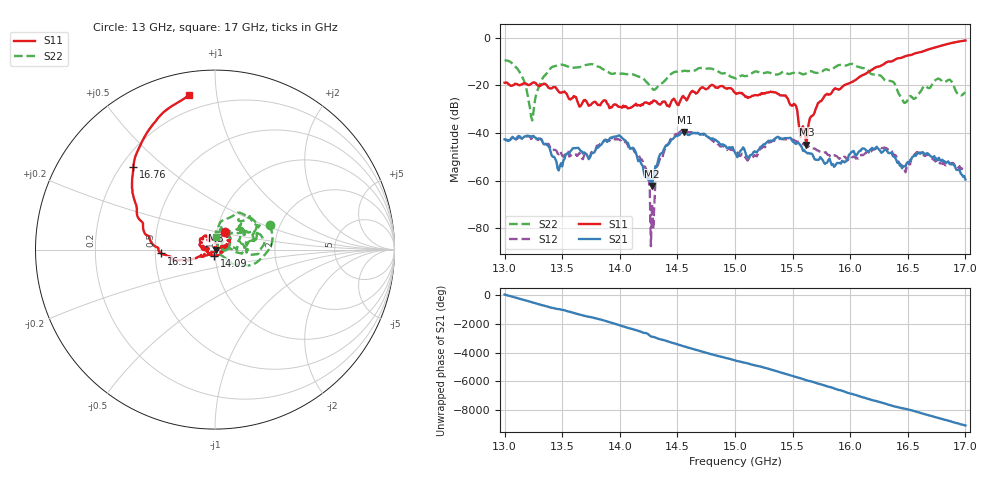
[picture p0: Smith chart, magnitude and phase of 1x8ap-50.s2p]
!Keysight Technologies,P9374A,MY57211807,A.19.30.04
!Date: Friday, May 08, 2026 15:46:18
!Correction: S11(C  2-Port  )
!S21(C  2-Port  )
!S12(C  2-Port  )
!S22(C  2-Port  )
!S2P File: Measurements: S11, S21, S12, S22:
# Hz S  dB  R 50
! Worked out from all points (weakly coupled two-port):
!   401 points, 13 GHz to 17 GHz, reference 50 ohm
!   highest |S21| = -39.60 dB at 14.56 GHz (marker M1); lowest = -62.2 dB at 14.28 GHz (marker M2)
!   lowest |S11| = -44.8 dB at 15.62 GHz (marker M3), VSWR 1.01, Z = 50.6 - j0.169 ohm
!   |S11| at or under -10 dB: start of sweep to 16.35 GHz
!   |S22| runs from -34.7 to -9.5 dB; largest |S21 - S12| = 0.0022
!   S11 on the Smith chart (normalised r, x): 13 GHz: 1.09, +0.22; 14.09 GHz: 0.99, -0.07; 16.31 GHz: 0.54, -0.03; 16.76 GHz: 0.25, +0.40; 17 GHz: 0.12, +0.84
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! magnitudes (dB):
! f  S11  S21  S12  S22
! 13 GHz  -18.9  -42.6  -43.2  -9.5
! 13.14 GHz  -19.8  -41.9  -42.0  -15.3
! 13.24 GHz  -19.0  -41.5  -42.1  -34.7
! 13.4 GHz  -21.2  -48.0  -46.7  -12.8
! 13.48 GHz  -23.1  -53.7  -47.7  -11.4
! 13.67 GHz  -27.8  -47.7  -50.6  -12.1
! 13.94 GHz  -28.5  -41.6  -42.3  -15.2
! 14.09 GHz  -29.5  -46.6  -47.1  -15.5
! 14.23 GHz  -27.2  -58.7  -55.2  -18.5
! 14.28 GHz  -27.3  -62.2  -69.7  -21.3
! 14.34 GHz  -27.8  -50.1  -52.2  -20.0
! 14.56 GHz  -25.2  -39.6  -39.5  -13.9
! 15 GHz  -23.1  -48.1  -47.4  -17.0
! 15.43 GHz  -24.3  -42.1  -42.6  -14.4
! 15.62 GHz  -44.8  -48.1  -45.3  -14.9
! 15.67 GHz  -32.8  -48.8  -46.5  -14.2
! 16.31 GHz  -10.4  -47.1  -46.4  -18.1
! 16.34 GHz  -10.0  -48.5  -47.5  -18.1
! 16.48 GHz  -7.8  -54.0  -56.5  -27.3
! 16.6 GHz  -6.2  -48.4  -48.1  -23.2
! 16.76 GHz  -3.8  -51.5  -52.4  -17.2
! 17 GHz  -1.2  -59.5  -55.7  -22.9
